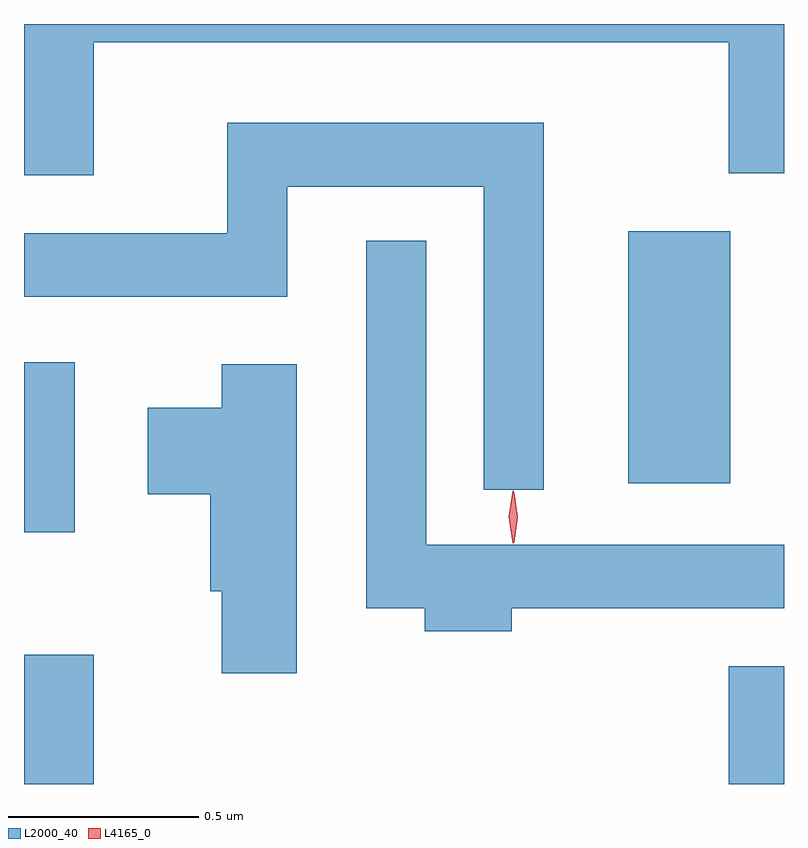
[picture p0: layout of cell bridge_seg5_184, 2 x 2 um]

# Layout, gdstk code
import gdstk
lib = gdstk.Library(unit=1e-6, precision=1e-09)
def R(c, l, rs):  # rectangles x0, y0, x1, y1
    for r in rs: c.add(gdstk.rectangle(r[:2], r[2:], *l))
def P(c, l, *ps):  # polygons
    for p in ps: c.add(gdstk.Polygon(p, *l))
L2000_40 = (2000, 40)
L4165_0 = (4165, 0)

bridge_seg5_184 = lib.new_cell('bridge_seg5_184')
R(bridge_seg5_184, L2000_40, [(1231.166,1414.884,1231.349,1415.224), (1233.021,1414.884,1233.166,1415.194), (1231.166,1415.546,1231.299,1415.994), (1232.756,1415.676,1233.024,1416.339)])
P(bridge_seg5_184, L2000_40, [(1231.349,1416.836),(1233.021,1416.836),(1233.021,1416.491),(1233.166,1416.491),(1233.166,1416.884),(1231.166,1416.884),(1231.166,1416.486),(1231.349,1416.486)],
  [(1232.534,1416.624),(1231.701,1416.624),(1231.701,1416.334),(1231.166,1416.334),(1231.166,1416.166),(1231.859,1416.166),(1231.859,1416.456),(1232.376,1416.456),(1232.376,1415.658),(1232.534,1415.658)],
  [(1232.449,1415.346),(1233.166,1415.346),(1233.166,1415.514),(1232.224,1415.514),(1232.224,1416.313),(1232.066,1416.313),(1232.066,1415.346),(1232.221,1415.346),(1232.221,1415.286),(1232.449,1415.286)],
  [(1231.884,1415.989),(1231.686,1415.989),(1231.686,1415.874),(1231.491,1415.874),(1231.491,1415.646),(1231.656,1415.646),(1231.656,1415.391),(1231.686,1415.391),(1231.686,1415.176),(1231.884,1415.176)])
P(bridge_seg5_184, L4165_0, [(1232.455,1415.519),(1232.454,1415.52),(1232.445,1415.586),(1232.454,1415.652),(1232.455,1415.653),(1232.456,1415.652),(1232.465,1415.586),(1232.456,1415.52)],
  [(1232.452,1415.517),(1232.452,1415.517),(1232.442,1415.587),(1232.452,1415.656),(1232.452,1415.656),(1232.453,1415.656),(1232.462,1415.587),(1232.453,1415.517)])

lib.write_gds('bridge_seg5_184.gds')
